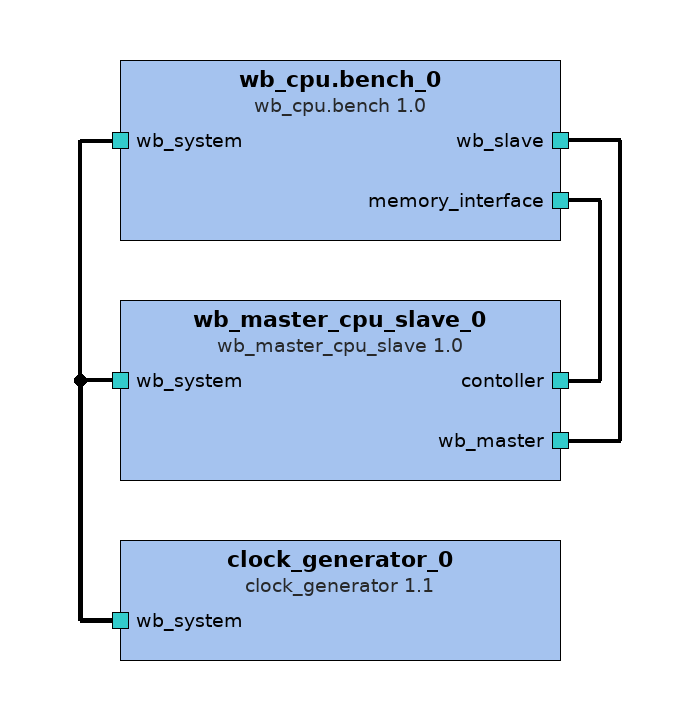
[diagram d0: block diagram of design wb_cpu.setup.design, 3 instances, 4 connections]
<?xml version="1.0" encoding="UTF-8"?>
<ipxact:design xmlns:xsi="http://www.w3.org/2001/XMLSchema-instance" xmlns:ipxact="http://www.accellera.org/XMLSchema/IPXACT/1685-2014" xmlns:kactus2="http://kactus2.cs.tut.fi" xsi:schemaLocation="http://www.accellera.org/XMLSchema/IPXACT/1685-2014 http://www.accellera.org/XMLSchema/IPXACT/1685-2014/index.xsd"><ipxact:vendor>tut.fi</ipxact:vendor><ipxact:library>communication.bridge.test</ipxact:library>
 <ipxact:name>wb_cpu.setup.design</ipxact:name><ipxact:version>1.0</ipxact:version><ipxact:componentInstances>
 <ipxact:componentInstance><ipxact:instanceName>wb_cpu.bench_0</ipxact:instanceName><ipxact:componentRef vendor="tut.fi" library="communication.bridge.test" name="wb_cpu.bench" version="1.0"/></ipxact:componentInstance>
 <ipxact:componentInstance><ipxact:instanceName>clock_generator_0</ipxact:instanceName><ipxact:componentRef vendor="tut.fi" library="other.test" name="clock_generator" version="1.1"/></ipxact:componentInstance>
 <ipxact:componentInstance><ipxact:instanceName>wb_master_cpu_slave_0</ipxact:instanceName><ipxact:componentRef vendor="tut.fi" library="communication.bridge" name="wb_master_cpu_slave" version="1.0"/></ipxact:componentInstance>
</ipxact:componentInstances><ipxact:interconnections>
 <ipxact:interconnection><ipxact:name>wb_master_cpu_slave_0_wb_master_to_wb_cpu.bench_0_wb_slave</ipxact:name><ipxact:activeInterface componentRef="wb_master_cpu_slave_0" busRef="wb_master"/><ipxact:activeInterface componentRef="wb_cpu.bench_0" busRef="wb_slave"/></ipxact:interconnection>
 <ipxact:interconnection><ipxact:name>wb_master_cpu_slave_0_wb_system_to_clock_generator_0_wb_system</ipxact:name><ipxact:activeInterface componentRef="wb_master_cpu_slave_0" busRef="wb_system"/><ipxact:activeInterface componentRef="clock_generator_0" busRef="wb_system"/></ipxact:interconnection>
 <ipxact:interconnection><ipxact:name>clock_generator_0_wb_system_to_wb_cpu.bench_0_wb_system</ipxact:name><ipxact:activeInterface componentRef="clock_generator_0" busRef="wb_system"/><ipxact:activeInterface componentRef="wb_cpu.bench_0" busRef="wb_system"/></ipxact:interconnection>
 <ipxact:interconnection><ipxact:name>wb_master_cpu_slave_0_contoller_to_wb_cpu.bench_0_memory_interface</ipxact:name><ipxact:activeInterface componentRef="wb_master_cpu_slave_0" busRef="contoller"/><ipxact:activeInterface componentRef="wb_cpu.bench_0" busRef="memory_interface"/></ipxact:interconnection>
</ipxact:interconnections></ipxact:design>

